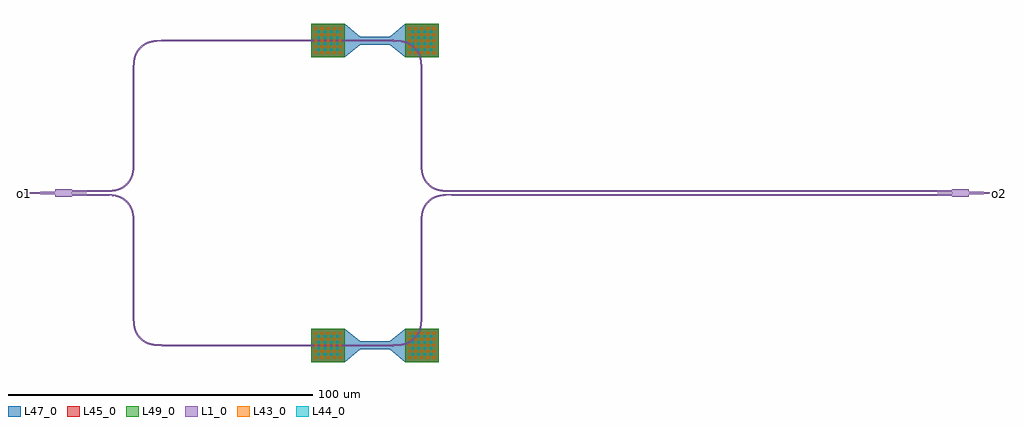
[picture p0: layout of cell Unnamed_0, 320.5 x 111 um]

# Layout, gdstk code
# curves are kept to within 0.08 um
from math import pi, radians
import gdstk
lib = gdstk.Library(unit=1e-6, precision=1e-09)
def R(c, l, rs):  # rectangles x0, y0, x1, y1
    for r in rs: c.add(gdstk.rectangle(r[:2], r[2:], *l))
def A(c, l, x, y, w, h, nx, ny, dx, dy):  # array of equal rectangles
    R(c, l, [(x+i*dx, y+j*dy, x+i*dx+w, y+j*dy+h) for i in range(nx) for j in range(ny)])
def P(c, l, *ps):  # polygons
    for p in ps: c.add(gdstk.Polygon(p, *l))
L1_0 = (1, 0)
L43_0 = (43, 0)
L44_0 = (44, 0)
L45_0 = (45, 0)
L47_0 = (47, 0)
L49_0 = (49, 0)

mmi1x2_wnone_wt1_lt10_l_ = lib.new_cell('mmi1x2_WNone_WT1_LT10_L_4e0f7121')
P(mmi1x2_wnone_wt1_lt10_l_, L1_0, [(0,-1.25),(0,-0.5),(-10,-0.25),(-10,0.25),(0,0.5),(0,1.25),(5.5,1.25),(5.5,1.125),(15.5,0.875),(15.5,0.375),(5.5,0.125),(5.5,-0.125),(15.5,-0.375),(15.5,-0.875),(5.5,-1.125),(5.5,-1.25)])

straight_heater_metal_u_ = lib.new_cell('straight_heater_metal_u_385113d0')
R(straight_heater_metal_u_, L1_0, [(0,-0.25,10,0.25)])
A(straight_heater_metal_u_, L43_0, -14.75, -4.35, 0.7, 0.7, 5, 5, 2, 2)
A(straight_heater_metal_u_, L43_0, 16.05, -4.35, 0.7, 0.7, 5, 5, 2, 2)
A(straight_heater_metal_u_, L44_0, -13.75, -3.35, 0.7, 0.7, 4, 4, 2, 2)
A(straight_heater_metal_u_, L44_0, 17.05, -3.35, 0.7, 0.7, 4, 4, 2, 2)
R(straight_heater_metal_u_, L45_0, [(-15.9,-5.5,-4.9,5.5), (14.9,-5.5,25.9,5.5)])
P(straight_heater_metal_u_, L47_0, [(-15.9,-5.5),(-15.9,5.5),(-4.9,5.5),(0.1,1.25),(9.9,1.25),(14.9,5.5),(25.9,5.5),(25.9,-5.5),(14.9,-5.5),(9.9,-1.25),(0.1,-1.25),(-4.9,-5.5)])
R(straight_heater_metal_u_, L49_0, [(-15.9,-5.5,-4.9,5.5), (14.9,-5.5,25.9,5.5)])

bend_euler_r10_a90_p0p5_ = lib.new_cell('bend_euler_R10_A90_P0p5_f9fcb00b')
P(bend_euler_r10_a90_p0p5_, L1_0, [(0,-0.25),(0,0.25),(2.881,0.353),(3.952,0.52),(4.99,0.806),(6.431,1.505),(7.575,2.425),(8.495,3.569),(9.194,5.01),(9.48,6.048),(9.647,7.119),(9.75,10),(10.25,10),(10.158,7.205),(9.797,5.254),(9.457,4.312),(9.066,3.545),(8.5,2.715),(7.928,2.072),(7.285,1.5),(6.455,0.934),(5.688,0.543),(4.746,0.203),(2.795,-0.158)])

straight_l0p25_n2_csstri = lib.new_cell('straight_L0p25_N2_CSstrip_WNone')
R(straight_l0p25_n2_csstri, L1_0, [(0,-0.25,0.25,0.25)])

straight_l29p375_n2_css_ = lib.new_cell('straight_L29p375_N2_CSs_6ed2bfdd')
R(straight_l29p375_n2_css_, L1_0, [(0,-0.25,29.375,0.25)])

straight_l64p25_n2_csstr = lib.new_cell('straight_L64p25_N2_CSstrip_WNone')
R(straight_l64p25_n2_csstr, L1_0, [(0,-0.25,64.25,0.25)])

straight_l154p25_n2_css_ = lib.new_cell('straight_L154p25_N2_CSs_1a5d041c')
R(straight_l154p25_n2_css_, L1_0, [(0,-0.25,154.25,0.25)])

unnamed_0 = lib.new_cell('Unnamed_0')
P(unnamed_0, L1_0, [(-10,-0.25),(-10.25,0),(-10.062,0.188),(-10.025,0.188),(-10.215,0),(-10.025,0),(-10.025,0.188),(-10.062,0.188),(-10,0.25)],
  [(310,-0.25),(310,0),(310.025,0),(310.025,-0.188),(310.215,0),(310,0),(310,0.25),(310.25,0)])
unnamed_0.add(gdstk.Reference(mmi1x2_wnone_wt1_lt10_l_, (0,0)))
unnamed_0.add(gdstk.Reference(mmi1x2_wnone_wt1_lt10_l_, (300,0), rotation=pi, x_reflection=True))
unnamed_0.add(gdstk.Reference(straight_heater_metal_u_, (100,50)))
unnamed_0.add(gdstk.Reference(straight_heater_metal_u_, (100,-50)))
unnamed_0.add(gdstk.Reference(bend_euler_r10_a90_p0p5_, (25.75,10.625), rotation=3*pi/2, x_reflection=True))
unnamed_0.add(gdstk.Reference(straight_l0p25_n2_csstri, (15.75,0.625), rotation=pi))
unnamed_0.add(gdstk.Reference(bend_euler_r10_a90_p0p5_, (35.75,50), rotation=pi))
unnamed_0.add(gdstk.Reference(straight_l29p375_n2_css_, (25.75,40), rotation=3*pi/2))
unnamed_0.add(gdstk.Reference(straight_l64p25_n2_csstr, (35.75,50)))
unnamed_0.add(gdstk.Reference(bend_euler_r10_a90_p0p5_, (25.75,-10.625), rotation=pi/2))
unnamed_0.add(gdstk.Reference(straight_l0p25_n2_csstri, (15.75,-0.625), rotation=pi))
unnamed_0.add(gdstk.Reference(bend_euler_r10_a90_p0p5_, (35.75,-50), rotation=pi, x_reflection=True))
unnamed_0.add(gdstk.Reference(straight_l29p375_n2_css_, (25.75,-40), rotation=pi/2))
unnamed_0.add(gdstk.Reference(straight_l64p25_n2_csstr, (35.75,-50)))
unnamed_0.add(gdstk.Reference(bend_euler_r10_a90_p0p5_, (120.25,40), rotation=pi/2))
unnamed_0.add(gdstk.Reference(straight_l0p25_n2_csstri, (110.25,50), rotation=pi))
unnamed_0.add(gdstk.Reference(bend_euler_r10_a90_p0p5_, (130.25,0.625), rotation=pi, x_reflection=True))
unnamed_0.add(gdstk.Reference(straight_l29p375_n2_css_, (120.25,10.625), rotation=pi/2))
unnamed_0.add(gdstk.Reference(straight_l154p25_n2_css_, (130.25,0.625)))
unnamed_0.add(gdstk.Reference(bend_euler_r10_a90_p0p5_, (120.25,-40), rotation=3*pi/2, x_reflection=True))
unnamed_0.add(gdstk.Reference(straight_l0p25_n2_csstri, (110.25,-50), rotation=pi))
unnamed_0.add(gdstk.Reference(bend_euler_r10_a90_p0p5_, (130.25,-0.625), rotation=pi))
unnamed_0.add(gdstk.Reference(straight_l29p375_n2_css_, (120.25,-10.625), rotation=3*pi/2))
unnamed_0.add(gdstk.Reference(straight_l154p25_n2_css_, (130.25,-0.625)))
unnamed_0.add(gdstk.Label('o1', (-10,0), layer=1, texttype=0))
unnamed_0.add(gdstk.Label('o2', (310,0), layer=1, texttype=0))

lib.write_gds('Unnamed_0.gds')
